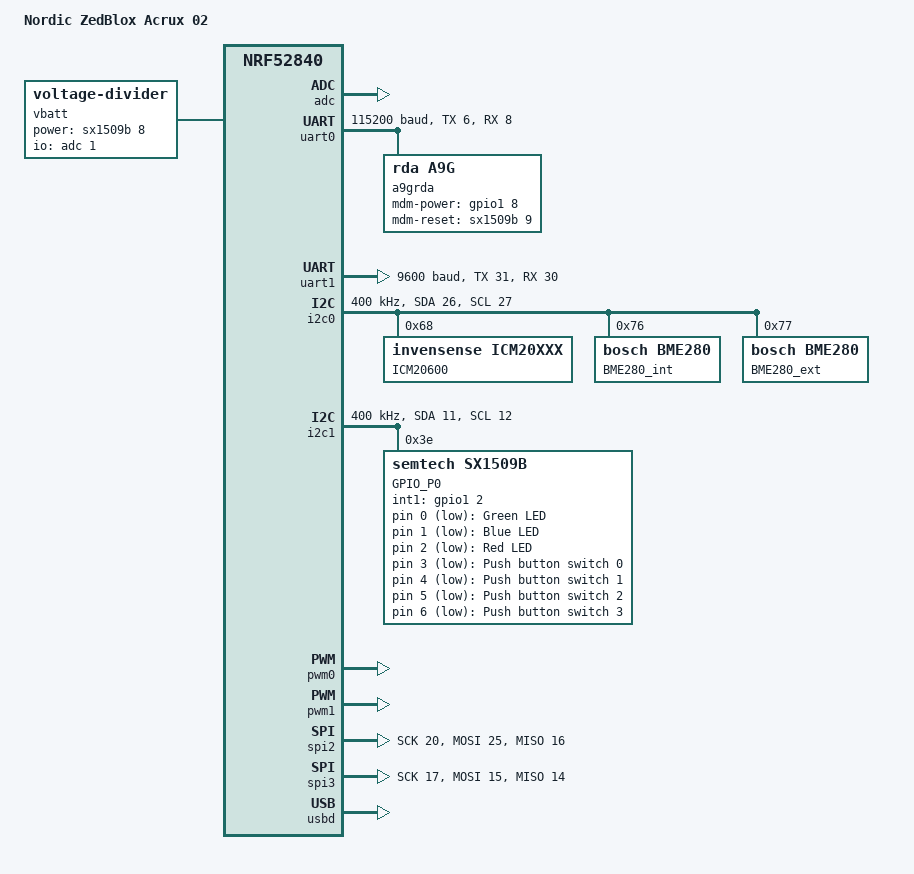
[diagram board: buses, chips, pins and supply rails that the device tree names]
/dts-v1/;
#include <nordic/nrf52840_qiaa.dtsi>

/ {
	model = "Nordic ZedBlox Acrux 02";
	compatible = "nordic,acrux-02", "nordic,nrf52840-qiaa",
		     "nordic,nrf52840";

	chosen {
		zephyr,console = &uart0;
		zephyr,shell-uart = &uart0;
		zephyr,uart-mcumgr = &uart0;
		zephyr,bt-mon-uart = &uart0;
		zephyr,bt-c2h-uart = &uart0;
		zephyr,sram = &sram0;
		zephyr,flash = &flash0;
		zephyr,code-partition = &slot0_partition;
	};

	/* These aliases are provided for compatibility with samples */
	aliases {
		led0 = &led0;
		led1 = &led1;
		led2 = &led2;
		sw0 = &button0;
		sw1 = &button1;
		sw2 = &button2;
		sw3 = &button3;
	};

	leds {
		compatible = "gpio-leds";
		/* Lightwell RGB */
		led0: led_0 {
			gpios = <&sx1509b 0 GPIO_ACTIVE_LOW>;
			label = "Green LED";
		};
		led1: led_1 {
			gpios = <&sx1509b 1 GPIO_ACTIVE_LOW>;
			label = "Blue LED";
		};
		led2: led_2 {
			gpios = <&sx1509b 2 GPIO_ACTIVE_LOW>;
			label = "Red LED";
		};
	};

	buttons {
		compatible = "gpio-keys";
		button0: button_0 {
			gpios = <&sx1509b 3 GPIO_ACTIVE_LOW>;
			label = "Push button switch 0";
		};
		button1: button_1 {
			gpios = <&sx1509b 4 GPIO_ACTIVE_LOW>;
			label = "Push button switch 1";
		};
		button2: button_2 {
			gpios = <&sx1509b 5 GPIO_ACTIVE_LOW>;
			label = "Push button switch 2";
		};
		button3: button_3 {
			gpios = <&sx1509b 6 GPIO_ACTIVE_LOW>;
			label = "Push button switch 3";
		};
	};

	vbatt {
		compatible = "voltage-divider";
		io-channels = <&adc 1>;
		output-ohms = <47000>;
		full-ohms = <(47000 + 806000)>;
        power-gpios = <&sx1509b 8 GPIO_ACTIVE_HIGH>;
	};

    mx25rxx: mx25rxx_0 {
        status = "okay";
        compatible = "qspi,mx25rxx";
        label = "MX25RXX";
    };
};

&adc {
	status = "okay";
};

&gpiote {
	status = "okay";
};

&gpio0 {
	status = "okay";
};

&gpio1 {
	status = "okay";
};

&uart0 {
	compatible = "nordic,nrf-uarte";
	status = "okay";
	current-speed = <115200>;
	tx-pin = <6>;
	rx-pin = <8>;

    a9grda {
        compatible = "rda,a9g";
	    label = "a9grda";
		mdm-power-gpios = <&gpio1 8 0>;
		mdm-reset-gpios = <&sx1509b 9 0>;
    };
};

&uart1 {
    compatible = "nordic,nrf-uarte";
    status = "okay";
	current-speed = <9600>;
	tx-pin = <31>;
	rx-pin = <30>;
};

&i2c0 {
    compatible = "nordic,nrf-twim";
	status = "okay";
	clock-frequency = <I2C_BITRATE_FAST>;
	sda-pin = <26>;
	scl-pin = <27>;

    icm20600: icm20600@68 {
        compatible = "invensense,icm20xxx";
        reg = <0x68>;
        label = "ICM20600";
    };

    bme280_int: bme280@76 {
        compatible = "bosch,bme280";
        reg = <0x76>;
        label = "BME280_int";
    };

    bme280_ext: bme280@77 {
        compatible = "bosch,bme280";
        reg = <0x77>;
        label = "BME280_ext";
    };
};

&i2c1 {
    compatible = "nordic,nrf-twim";
	status = "okay";
	clock-frequency = <I2C_BITRATE_FAST>;
	sda-pin = <11>;
	scl-pin = <12>;

	sx1509b: sx1509b@3e {
		compatible = "semtech,sx1509b";
		reg = <0x3e>;
		label = "GPIO_P0";
		gpio-controller;
		int1-gpios = <&gpio1 2 0>;
		#gpio-cells = <2>;
		ngpios = <16>;
	};
};

&pwm0 {
	status = "okay";
	ch0-pin = <24>;
	ch1-pin = <36>;
	//ch0-inverted;
};

&pwm1 {
	status = "okay";
	ch0-pin = <7>;
	ch0-inverted;
};

&spi2 {
    compatible = "nordic,nrf-spim";
	status = "okay";
	sck-pin = <20>;
	mosi-pin = <25>;
	miso-pin = <16>;
    miso-pull-up;
	cs-gpios = <&gpio0 13 0>;
};

&spi3 {
    compatible = "nordic,nrf-spim";
	status = "okay";
	sck-pin = <17>;
	mosi-pin = <15>;
	miso-pin = <14>;
	cs-gpios = <&gpio1 12 0>;
};

&flash0 {
	/*
	 * For more information, see:
	 * http://docs.zephyrproject.org/latest/guides/dts/index.html#flash-partitions
	 */
	partitions {
		compatible = "fixed-partitions";
		#address-cells = <1>;
		#size-cells = <1>;

		boot_partition: partition@0 {
			label = "mcuboot";
			reg = <0x000000000 0x000010000>;
		};
		slot0_partition: partition@10000 {
			label = "image-0";
			reg = <0x000010000 0x000074000>;
		};
		slot1_partition: partition@84000 {
			label = "image-1";
			reg = <0x00084000 0x000074000>;
		};
		/*
        scratch_partition: partition@de000 {
			label = "image-scratch";
			reg = <0x000de000 0x0001a000>;
		};
        */

		/*
		 * The flash starting at 0x000f8000 and ending at
		 * 0x000fffff is reserved for use by the application.
		 */

        /* Storage partition will be used by nvs settings */
		settings_partition: partition@f8000 {
			label = "settings_store";
			reg = <0x000f8000 0x00008000>;
		};

		/* Storage partition will be used by FCB/NFFS/NVS if enabled. */
		/*storage_partition: partition@f8000 {
			label = "storage";
			reg = <0x000f8000 0x00008000>;
		};*/
	};
};

&mx25rxx {
	/*
	 * For more information, see:
	 * http://docs.zephyrproject.org/latest/guides/dts/index.html#flash-partitions
	 */
	partitions {
		compatible = "fixed-partitions";
		#address-cells = <1>;
		#size-cells = <1>;

		/* Storage partition will be used by FCB if enabled. */
		ext_storage_partition: partition@0 {
			label = "ext_storage";
			reg = <0x00000000 0x00400000>;
		};

		/* Storage partition will be used by filesystem if enabled. */
		fs_partition: partition@400000 {
			label = "fs_storage";
			reg = <0x00400000 0x00400000>;
		};
	};
};

&usbd {
	compatible = "nordic,nrf-usbd";
	status = "okay";
};
